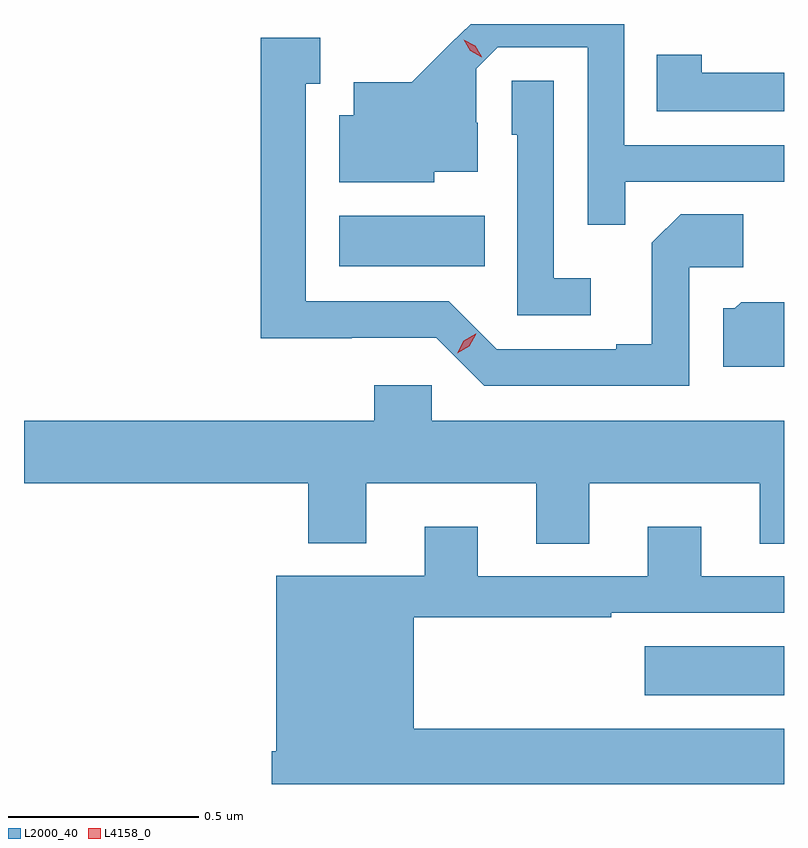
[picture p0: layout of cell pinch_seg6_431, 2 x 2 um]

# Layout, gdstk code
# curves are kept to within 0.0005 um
import gdstk
lib = gdstk.Library(unit=1e-6, precision=1e-09)
def R(c, l, rs):  # rectangles x0, y0, x1, y1
    for r in rs: c.add(gdstk.rectangle(r[:2], r[2:], *l))
def P(c, l, *ps):  # polygons
    for p in ps: c.add(gdstk.Polygon(p, *l))
L2000_40 = (2000, 40)
L4158_0 = (4158, 0)

pinch_seg6_431 = lib.new_cell('pinch_seg6_431')
R(pinch_seg6_431, L2000_40, [(675.417,920.138,675.783,920.266), (674.612,921.266,674.996,921.4)])
P(pinch_seg6_431, L2000_40, [(675.365,921.489),(675.783,921.489),(675.783,921.585),(675.363,921.585),(675.363,921.904),(674.958,921.904),(674.803,921.751),(674.651,921.751),(674.651,921.664),(674.612,921.664),(674.612,921.488),(674.862,921.488),(674.862,921.515),(674.977,921.515),(674.977,921.644),(674.973,921.644),(674.973,921.786),(675.03,921.843),(675.267,921.843),(675.267,921.376),(675.365,921.376)],
  [(675.534,921.264),(675.676,921.264),(675.676,921.404),(675.511,921.404),(675.435,921.328),(675.435,921.061),(675.341,921.061),(675.341,921.048),(675.027,921.048),(674.901,921.174),(674.524,921.174),(674.524,921.747),(674.563,921.747),(674.563,921.868),(674.406,921.868),(674.406,921.077),(674.646,921.077),(674.646,921.078),(674.868,921.078),(674.994,920.952),(675.534,920.952)],
  [(675.783,921.776),(675.567,921.776),(675.567,921.823),(675.448,921.823),(675.448,921.675),(675.783,921.675)],
  [(675.274,921.235),(675.177,921.235),(675.177,921.755),(675.066,921.755),(675.066,921.612),(675.081,921.612),(675.081,921.138),(675.274,921.138)],
  [(675.783,921.172),(675.67,921.172),(675.654,921.156),(675.623,921.156),(675.623,921.002),(675.783,921.002)],
  [(675.271,920.696),(675.719,920.696),(675.719,920.536),(675.783,920.536),(675.783,920.86),(674.856,920.86),(674.856,920.953),(674.705,920.953),(674.705,920.86),(673.783,920.86),(673.783,920.696),(674.531,920.696),(674.531,920.537),(674.683,920.537),(674.683,920.696),(675.131,920.696),(675.131,920.536),(675.271,920.536)],
  [(675.783,920.05),(674.809,920.05),(674.809,920.343),(675.329,920.343),(675.329,920.355),(675.783,920.355),(675.783,920.451),(675.565,920.451),(675.565,920.581),(675.425,920.581),(675.425,920.451),(674.977,920.451),(674.977,920.581),(674.837,920.581),(674.837,920.452),(674.447,920.452),(674.447,919.99),(674.435,919.99),(674.435,919.904),(675.783,919.904)])
P(pinch_seg6_431, L4158_0, [(674.988,921.817),(674.957,921.833),(674.94,921.862),(674.94,921.863),(674.94,921.863),(674.971,921.847),(674.988,921.818),(674.988,921.817)],
  [(674.923,921.037),(674.923,921.037),(674.94,921.07),(674.972,921.089),(674.973,921.089),(674.973,921.089),(674.955,921.056),(674.923,921.037)])

lib.write_gds('pinch_seg6_431.gds')
